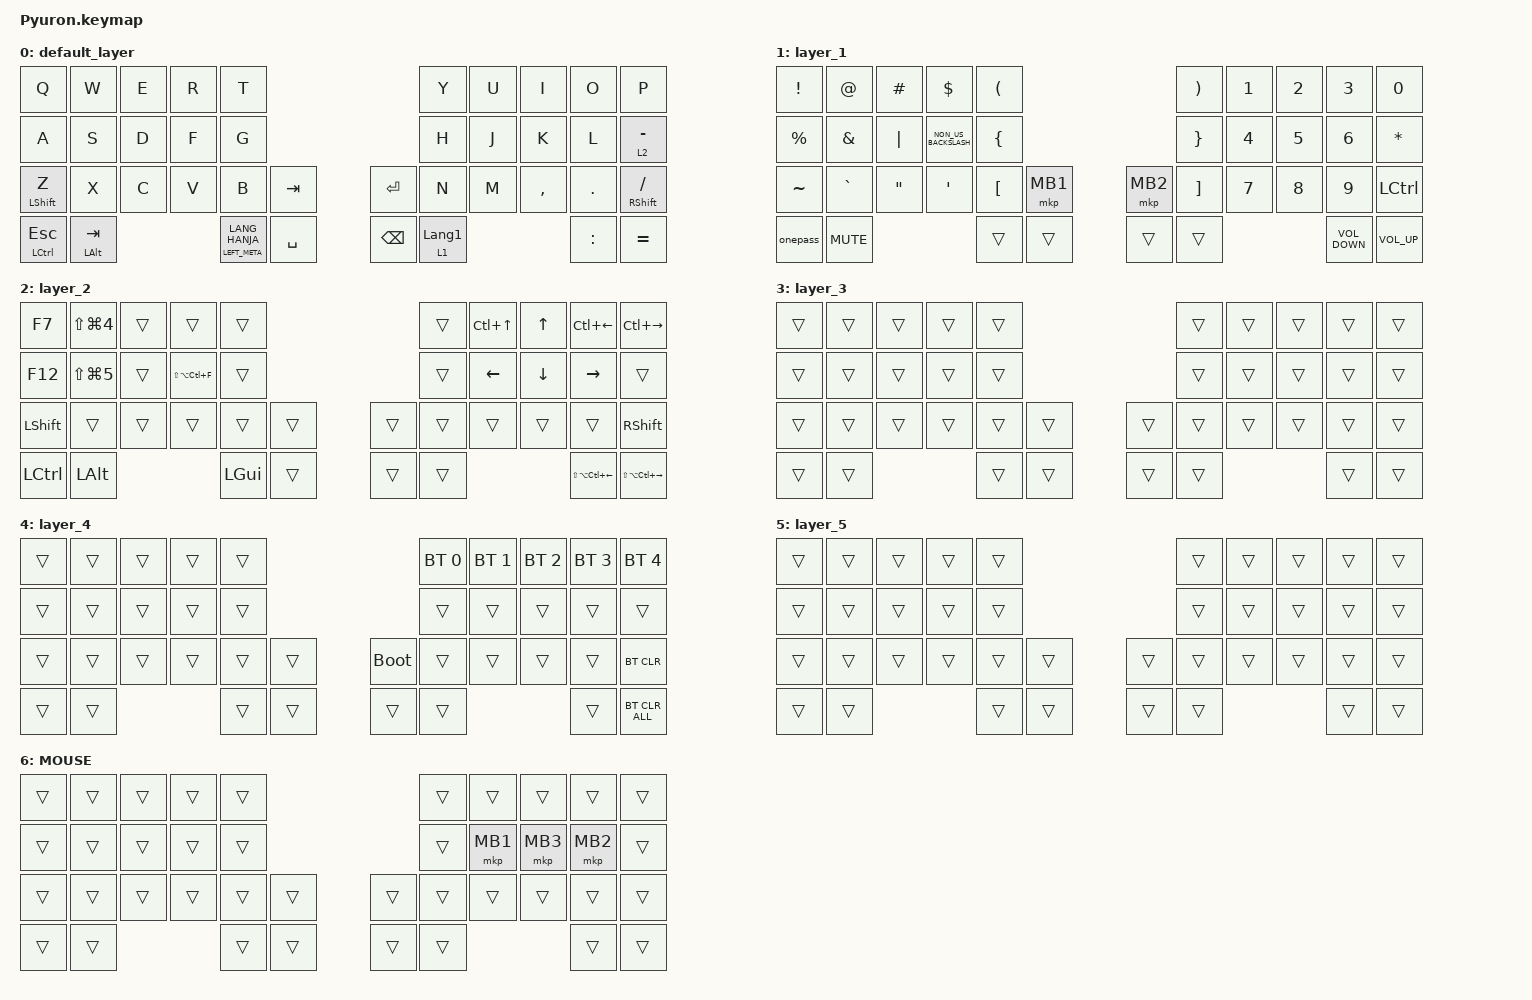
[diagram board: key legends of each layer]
#include <behaviors.dtsi>
#include <dt-bindings/zmk/bt.h>
#include <dt-bindings/zmk/keys.h>
#include <dt-bindings/zmk/pointing.h>

#define MOUSE 6

&mt {
    flavor = "balanced";
    quick-tap-ms = <0>;
};

/ {
    combos {
        compatible = "zmk,combos";

        left_click {
            bindings = <&mkp MB1>;
            key-positions = <13 12>;
        };

        right_click {
            bindings = <&mkp MB2>;
            key-positions = <16 17>;
        };
    };

    macros {
        to_layer_0: to_layer_0 {
            compatible = "zmk,behavior-macro-one-param";
            #binding-cells = <1>;
            bindings = <&to 0 &macro_param_1to1 &kp MACRO_PLACEHOLDER>;
            label = "TO_LAYER_0";
        };

        onepass: onepass {
            compatible = "zmk,behavior-macro";
            #binding-cells = <0>;
            bindings = <&kp LS(S) &kp Z &kp R &kp K &kp NUMBER_9 &kp PERCENT &kp NUMBER_2 &kp NUMBER_2 &kp LS(F) &kp H &kp U &kp NUMBER_1 &kp NUMBER_8 &kp NUMBER_3 &kp A &kp LS(S) &kp ENTER>;
            label = "ONEPASS";
        };
    };

    lt_to_layer_0: lt_to_layer_0 {
        compatible = "zmk,behavior-hold-tap";
        label = "LAYER_TAP_TO_0";
        bindings = <&mo>, <&to_layer_0>;

        #binding-cells = <2>;
        tapping-term-ms = <200>;
    };
};

/ {
    behaviors {
    };

    keymap {
        compatible = "zmk,keymap";

        default_layer {
            bindings = <
&kp Q             &kp W                  &kp E             &kp R             &kp T                     &kp Y      &kp U          &kp I             &kp O      &kp P
&kp A             &kp S                  &kp D             &kp F             &kp G                     &kp H      &kp J          &kp K             &kp L      &lt 2 MINUS
&mt LEFT_SHIFT Z  &kp X                  &kp C             &kp V             &kp B                     &kp TAB    &kp ENTER      &kp N             &kp M      &kp COMMA
&kp DOT           &mt RIGHT_SHIFT SLASH  &mt LCTRL ESCAPE  &mt LEFT_ALT TAB  &mt LEFT_META LANG_HANJA  &kp SPACE  &kp BACKSPACE  &lt 1 LANGUAGE_1  &kp COLON  &kp EQUAL
            >;
        };

        layer_1 {
            bindings = <
&kp EXCLAMATION  &kp AT_SIGN    &kp HASH           &kp DOLLAR            &kp LEFT_PARENTHESIS  &kp RIGHT_PARENTHESIS  &kp NUMBER_1  &kp NUMBER_2       &kp NUMBER_3       &kp NUMBER_0
&kp PERCENT      &kp AMPERSAND  &kp PIPE           &kp NON_US_BACKSLASH  &kp LEFT_BRACE        &kp RIGHT_BRACE        &kp NUMBER_4  &kp NUMBER_5       &kp NUMBER_6       &kp ASTERISK
&kp TILDE        &kp GRAVE      &kp DOUBLE_QUOTES  &kp SQT               &kp LEFT_BRACKET      &mkp MB1               &mkp MB2      &kp RIGHT_BRACKET  &kp NUMBER_7       &kp NUMBER_8
&kp NUMBER_9     &kp LCTRL      &onepass           &kp K_MUTE            &trans                &trans                 &trans        &trans             &kp C_VOLUME_DOWN  &kp C_VOLUME_UP
            >;
        };

        layer_2 {
            bindings = <
&kp F7          &kp LS(LG(NUMBER_4))  &trans     &trans             &trans    &trans  &kp LC(UP_ARROW)  &kp UP_ARROW    &kp LC(LEFT)          &kp LC(RIGHT)
&kp F12         &kp LS(LG(NUMBER_5))  &trans     &kp LS(LA(LC(F)))  &trans    &trans  &kp LEFT          &kp DOWN_ARROW  &kp RIGHT             &trans
&kp LEFT_SHIFT  &trans                &trans     &trans             &trans    &trans  &trans            &trans          &trans                &trans
&trans          &kp RIGHT_SHIFT       &kp LCTRL  &kp LEFT_ALT       &kp LGUI  &trans  &trans            &trans          &kp LS(LA(LC(LEFT)))  &kp LS(LA(LC(RIGHT)))
            >;
        };

        layer_3 {
            bindings = <
&trans  &trans  &trans  &trans  &trans  &trans  &trans  &trans  &trans  &trans
&trans  &trans  &trans  &trans  &trans  &trans  &trans  &trans  &trans  &trans
&trans  &trans  &trans  &trans  &trans  &trans  &trans  &trans  &trans  &trans
&trans  &trans  &trans  &trans  &trans  &trans  &trans  &trans  &trans  &trans
            >;
        };

        layer_4 {
            bindings = <
&trans  &trans      &trans  &trans  &trans  &bt BT_SEL 0  &bt BT_SEL 1  &bt BT_SEL 2  &bt BT_SEL 3  &bt BT_SEL 4
&trans  &trans      &trans  &trans  &trans  &trans        &trans        &trans        &trans        &trans
&trans  &trans      &trans  &trans  &trans  &trans        &bootloader   &trans        &trans        &trans
&trans  &bt BT_CLR  &trans  &trans  &trans  &trans        &trans        &trans        &trans        &bt BT_CLR_ALL
            >;
        };

        layer_5 {
            bindings = <
&trans  &trans  &trans  &trans  &trans  &trans  &trans  &trans  &trans  &trans
&trans  &trans  &trans  &trans  &trans  &trans  &trans  &trans  &trans  &trans
&trans  &trans  &trans  &trans  &trans  &trans  &trans  &trans  &trans  &trans
&trans  &trans  &trans  &trans  &trans  &trans  &trans  &trans  &trans  &trans
            >;
        };

        MOUSE {
            bindings = <
&trans  &trans  &trans  &trans  &trans  &trans  &trans    &trans    &trans    &trans
&trans  &trans  &trans  &trans  &trans  &trans  &mkp MB1  &mkp MB3  &mkp MB2  &trans
&trans  &trans  &trans  &trans  &trans  &trans  &trans    &trans    &trans    &trans
&trans  &trans  &trans  &trans  &trans  &trans  &trans    &trans    &trans    &trans
            >;
        };
    };
};
